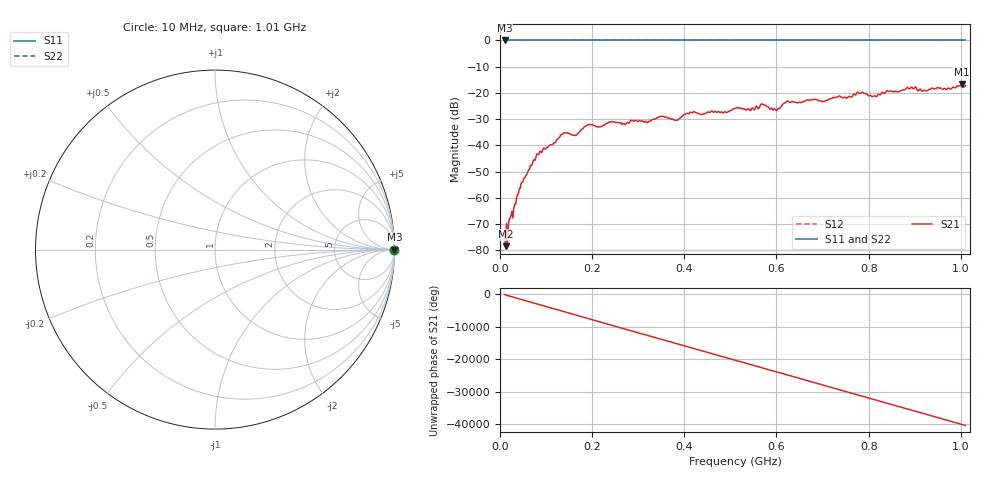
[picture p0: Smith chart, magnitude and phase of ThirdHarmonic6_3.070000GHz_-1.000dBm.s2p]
! 8/17/2025 8:58:22 AM
! C:\ANRITSUVNA\TEMP\TEMP.S2P
! CHANNEL.1
! TR.MEASUREMENT
! RAW.DATA
! RF.CORRECTION.OFF
! AVERAGING.OFF
! IF.BANDWIDTH: 5KHZ
! SWEEPTYPE:  FREQ.SWEEP(Linear)
! Reference Plane Port Info
! PORT:  PORT1  PORT2
! DISTANCE:  0  m  0  m
! TIME:  0  s  0  s
! PHASE.OFFSET:  0  deg.  0  deg.
! LOSS:  0  dB  0  dB
! REF.LOSS:  0  dB  0  dB
! REF.FREQ:  0  Hz  0  Hz
! Power Info
! POWER:  -20  dBm  -20  dBm
! EFF.POWER:  -20  dBm  -20  dBm
! SOURCE.ATTEN:  0  dB  0  dB
! TEST.ATTEN:  0  dB  0  dB
# GHZ S RI R 50.0
! FREQ.GHZ  S11RE  S11IM  S21RE  S21IM  S12RE  S12IM  S22RE  S22IM
!; PortSelection: Port_12
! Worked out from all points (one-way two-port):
!   501 points, 10 MHz to 1.01 GHz, reference 50 ohm
!   highest |S21| = -16.61 dB at 1.002 GHz (marker M1); lowest = -78.4 dB at 12 MHz (marker M2)
!   lowest |S11| = 0.0 dB at 10 MHz (marker M3)
!   |S11| at or under -10 dB: nowhere
!   |S22| runs from 0.0 to 0.0 dB; largest |S21 - S12| = 1.1
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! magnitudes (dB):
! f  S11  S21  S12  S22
! 10 MHz  0.0  -73.5  0.0  0.0
! 12 MHz  0.0  -78.4  0.0  0.0
! 46 MHz  0.0  -54.3  0.0  0.0
! 82 MHz  0.0  -43.5  0.0  0.0
! 136 MHz  0.0  -35.7  0.0  0.0
! 164 MHz  0.0  -36.1  0.0  0.0
! 178 MHz  0.0  -33.8  0.0  0.0
! 192 MHz  0.0  -32.1  0.0  0.0
! 322 MHz  0.0  -31.0  0.0  0.0
! 344 MHz  0.0  -29.3  0.0  0.0
! 382 MHz  0.0  -30.4  0.0  0.0
! 416 MHz  0.0  -27.6  0.0  0.0
! 510 MHz  0.0  -25.9  0.0  0.0
! 570 MHz  0.0  -24.2  0.0  0.0
! 596 MHz  0.0  -26.0  0.0  0.0
! 622 MHz  0.0  -23.3  0.0  0.0
! 678 MHz  0.0  -22.7  0.0  0.0
! 780 MHz  0.0  -20.3  0.0  0.0
! 814 MHz  0.0  -21.1  0.0  0.0
! 844 MHz  0.0  -19.4  0.0  0.0
! 1.002 GHz  0.0  -16.6  0.0  0.0
! 1.01 GHz  0.0  -17.3  0.0  0.0
